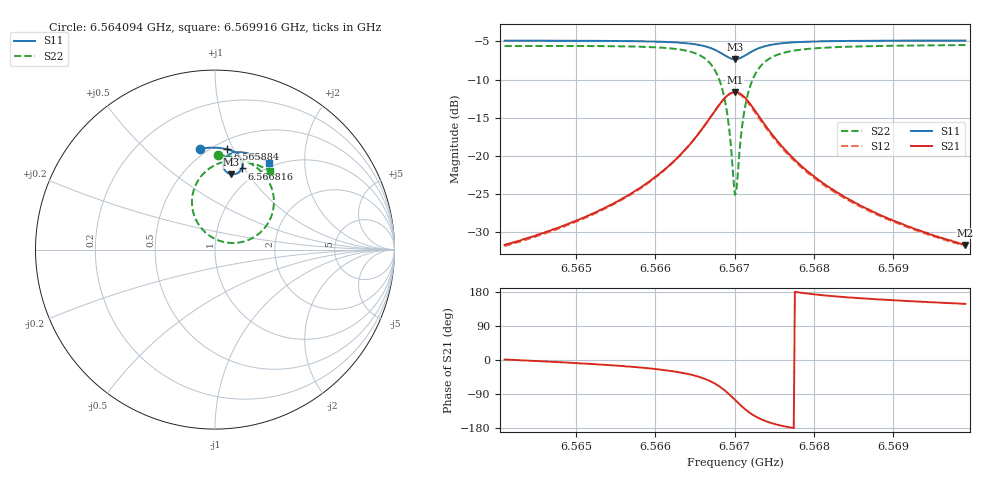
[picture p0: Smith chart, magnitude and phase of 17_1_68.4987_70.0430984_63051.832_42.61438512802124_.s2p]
#  HZ  S  RI  R  50.00
! Rohde & Schwarz Vector Network Analyzer
! Rohde-Schwarz,ZNB20-2Port,1311601062101988,3.16
! Created: UTC 3/20/2024, 5:04:24 PM
! freq[Hz]  re:S11  im:S11  re:S21  im:S21  re:S12  im:S12  re:S22  im:S22
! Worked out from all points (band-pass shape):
!   401 points, 6.564094 GHz to 6.569916 GHz, reference 50 ohm
!   highest |S21| = -11.63 dB at 6.567005 GHz (marker M1); lowest = -31.7 dB at 6.569916 GHz (marker M2)
!   |S21| within 3 dB of the highest: 6.566715 GHz to 6.567296 GHz (581.7 kHz wide, 0.00886 % of centre)
!   lowest |S11| = -7.3 dB at 6.567005 GHz (marker M3), VSWR 2.51, Z = 40.4 + j41.7 ohm
!   |S11| at or under -10 dB: nowhere
!   |S22| runs from -25.1 to -5.5 dB; largest |S21 - S12| = 0.012
!   S11 on the Smith chart (normalised r, x): 6.564094 GHz: 0.45, +0.76; 6.565884 GHz: 0.58, +0.95; 6.566816 GHz: 0.83, +0.97; 6.569916 GHz: 0.94, +1.35
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6.5640937e9  -0.083 0.5629  0.0261 0.000548  0.0257 9.61e-05  0.0157 0.5247
6.5650689e9  -0.00428 0.5679  0.0387 -0.00619  0.0379 -0.00666  0.1051 0.5144
6.565884e9  0.069 0.5588  0.0615 -0.0241  0.0604 -0.0247  0.2023 0.477
6.5660441e9  0.0853 0.5541  0.069 -0.032  0.0679 -0.0327  0.227 0.4608
6.5663643e9  0.1207 0.536  0.0889 -0.0621  0.0875 -0.0631  0.2853 0.4013
6.5665826e9  0.1452 0.5094  0.1021 -0.1082  0.0998 -0.1102  0.3238 0.3124
6.5667136e9  0.1541 0.4813  0.098 -0.1572  0.0943 -0.16  0.3235 0.2188
6.5668155e9  0.1494 0.4521  0.0724 -0.2073  0.0659 -0.2101  0.2796 0.1243
6.5669029e9  0.1292 0.4283  0.0209 -0.2463  0.0116 -0.247  0.1865 0.0537
6.566932e9  0.1188 0.4229  -0.0026 -0.2543  -0.0128 -0.2535  0.1437 0.0409
6.5669902e9  0.0946 0.4195  -0.0554 -0.2559  -0.0659 -0.2516  0.0502 0.0419
6.5670047e9  0.0883 0.4205  -0.0687 -0.253  -0.079 -0.2477  0.0273 0.0483
6.5670339e9  0.0765 0.4244  -0.0941 -0.2434  -0.1035 -0.2365  -0.0159 0.068
6.5670921e9  0.0575 0.4392  -0.1353 -0.2119  -0.142 -0.2024  -0.0832 0.1285
6.5671357e9  0.049 0.454  -0.1553 -0.1822  -0.1595 -0.172  -0.1132 0.1826
6.567194e9  0.0452 0.4741  -0.1679 -0.1423  -0.1692 -0.1328  -0.1283 0.2535
6.5672667e9  0.0491 0.4959  -0.1676 -0.0997  -0.1668 -0.0916  -0.1197 0.3271
6.5675287e9  0.0882 0.5344  -0.1255 -0.0214  -0.1228 -0.0181  -0.0241 0.4571
6.5679799e9  0.1468 0.5421  -0.0746 0.00804  -0.0729 0.00922  0.0961 0.4964
6.5683729e9  0.1858 0.5352  -0.053 0.013  -0.0518 0.0134  0.1594 0.4931
6.5689551e9  0.2343 0.5189  -0.0359 0.0143  -0.0351 0.0146  0.2255 0.4757
6.5699157e9  0.3036 0.4834  -0.0221 0.0138  -0.0217 0.0138  0.3053 0.4365
